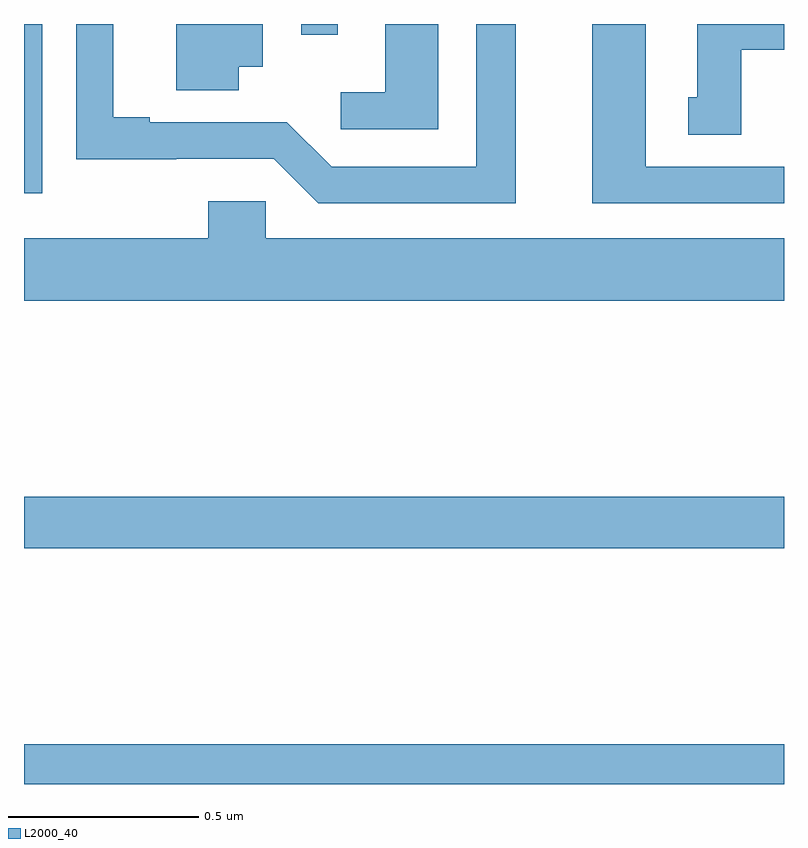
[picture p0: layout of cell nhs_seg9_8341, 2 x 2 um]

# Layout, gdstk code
import gdstk
lib = gdstk.Library(unit=1e-6, precision=1e-09)
def R(c, l, rs):  # rectangles x0, y0, x1, y1
    for r in rs: c.add(gdstk.rectangle(r[:2], r[2:], *l))
def P(c, l, *ps):  # polygons
    for p in ps: c.add(gdstk.Polygon(p, *l))
L2000_40 = (2000, 40)

nhs_seg9_8341 = lib.new_cell('nhs_seg9_8341')
R(nhs_seg9_8341, L2000_40, [(216,1176.5,218,1176.604), (216,1177.12,218,1177.256), (216,1178.055,216.048,1178.5), (216.729,1178.472,216.825,1178.5)])
P(nhs_seg9_8341, L2000_40, [(218,1178.124),(217.636,1178.124),(217.636,1178.5),(217.496,1178.5),(217.496,1178.028),(218,1178.028)],
  [(216.565,1178.387),(216.628,1178.387),(216.628,1178.5),(216.401,1178.5),(216.401,1178.326),(216.565,1178.326)],
  [(217.888,1178.432),(218,1178.432),(218,1178.5),(217.772,1178.5),(217.772,1178.307),(217.748,1178.307),(217.748,1178.209),(217.888,1178.209)],
  [(217.294,1178.5),(217.19,1178.5),(217.19,1178.124),(216.81,1178.124),(216.692,1178.242),(216.596,1178.242),(216.596,1178.241),(216.331,1178.241),(216.331,1178.254),(216.235,1178.254),(216.235,1178.5),(216.138,1178.5),(216.138,1178.144),(216.401,1178.144),(216.401,1178.145),(216.657,1178.145),(216.774,1178.028),(217.294,1178.028)],
  [(217.09,1178.5),(216.95,1178.5),(216.95,1178.32),(216.834,1178.32),(216.834,1178.223),(217.09,1178.223)],
  [(218,1177.936),(216.636,1177.936),(216.636,1178.034),(216.485,1178.034),(216.485,1177.936),(216,1177.936),(216,1177.772),(218,1177.772)])

lib.write_gds('nhs_seg9_8341.gds')
